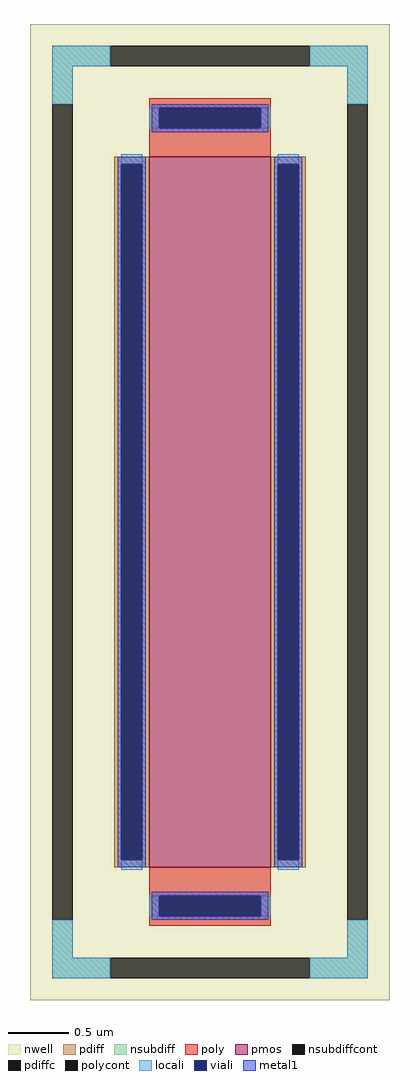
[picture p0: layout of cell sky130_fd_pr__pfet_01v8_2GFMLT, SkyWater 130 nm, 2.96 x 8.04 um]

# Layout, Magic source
magic
tech sky130A
magscale 1 2
<< nwell >>
rect -296 -804 296 804
<< pmos >>
rect -100 -585 100 585
<< pdiff >>
rect -158 573 -100 585
rect -158 -573 -146 573
rect -112 -573 -100 573
rect -158 -585 -100 -573
rect 100 573 158 585
rect 100 -573 112 573
rect 146 -573 158 573
rect 100 -585 158 -573
<< pdiffc >>
rect -146 -573 -112 573
rect 112 -573 146 573
<< nsubdiff >>
rect -260 734 -164 768
rect 164 734 260 768
rect -260 672 -226 734
rect 226 672 260 734
rect -260 -734 -226 -672
rect 226 -734 260 -672
rect -260 -768 -164 -734
rect 164 -768 260 -734
<< nsubdiffcont >>
rect -164 734 164 768
rect -260 -672 -226 672
rect 226 -672 260 672
rect -164 -768 164 -734
<< poly >>
rect -100 666 100 682
rect -100 632 -84 666
rect 84 632 100 666
rect -100 585 100 632
rect -100 -632 100 -585
rect -100 -666 -84 -632
rect 84 -666 100 -632
rect -100 -682 100 -666
<< polycont >>
rect -84 632 84 666
rect -84 -666 84 -632
<< locali >>
rect -260 734 -164 768
rect 164 734 260 768
rect -260 672 -226 734
rect 226 672 260 734
rect -100 632 -84 666
rect 84 632 100 666
rect -146 573 -112 589
rect -146 -589 -112 -573
rect 112 573 146 589
rect 112 -589 146 -573
rect -100 -666 -84 -632
rect 84 -666 100 -632
rect -260 -734 -226 -672
rect 226 -734 260 -672
rect -260 -768 -164 -734
rect 164 -768 260 -734
<< viali >>
rect -84 632 84 666
rect -146 -573 -112 573
rect 112 -573 146 573
rect -84 -666 84 -632
<< metal1 >>
rect -96 666 96 672
rect -96 632 -84 666
rect 84 632 96 666
rect -96 626 96 632
rect -152 573 -106 585
rect -152 -573 -146 573
rect -112 -573 -106 573
rect -152 -585 -106 -573
rect 106 573 152 585
rect 106 -573 112 573
rect 146 -573 152 573
rect 106 -585 152 -573
rect -96 -632 96 -626
rect -96 -666 -84 -632
rect 84 -666 96 -632
rect -96 -672 96 -666
<< properties >>
string gencell sky130_fd_pr__pfet_01v8
string FIXED_BBOX -243 -751 243 751
string parameters w 5.85 l 1.0 m 1 nf 1 diffcov 100 polycov 100 guard 1 glc 1 grc 1 gtc 1 gbc 1 tbcov 100 rlcov 100 topc 1 botc 1 poverlap 0 doverlap 1 lmin 0.15 wmin 0.42 compatible {sky130_fd_pr__pfet_01v8  sky130_fd_pr__pfet_01v8_lvt sky130_fd_pr__pfet_01v8_hvt  sky130_fd_pr__pfet_g5v0d10v5} full_metal 1 viasrc 100 viadrn 100 viagate 100 viagb 0 viagt 0 viagr 0 viagl 0
string library sky130
<< end >>
